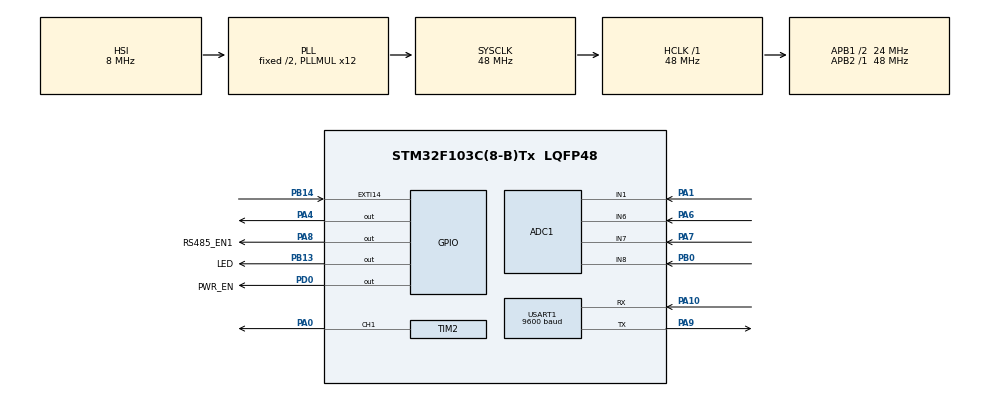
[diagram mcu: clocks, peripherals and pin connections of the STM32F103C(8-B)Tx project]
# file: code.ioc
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ADC1.Channel-0\#ChannelRegularConversion=ADC_CHANNEL_6
ADC1.Channel-1\#ChannelRegularConversion=ADC_CHANNEL_8
ADC1.Channel-2\#ChannelRegularConversion=ADC_CHANNEL_7
ADC1.Channel-3\#ChannelRegularConversion=ADC_CHANNEL_1
ADC1.DiscontinuousConvMode=ENABLE
ADC1.NbrOfConversion=4
ADC1.NbrOfConversionFlag=1
ADC1.Rank-0\#ChannelRegularConversion=1
ADC1.Rank-1\#ChannelRegularConversion=2
ADC1.Rank-2\#ChannelRegularConversion=3
ADC1.Rank-3\#ChannelRegularConversion=4
ADC1.SamplingTime-0\#ChannelRegularConversion=ADC_SAMPLETIME_71CYCLES_5
ADC1.SamplingTime-1\#ChannelRegularConversion=ADC_SAMPLETIME_71CYCLES_5
ADC1.SamplingTime-2\#ChannelRegularConversion=ADC_SAMPLETIME_71CYCLES_5
ADC1.SamplingTime-3\#ChannelRegularConversion=ADC_SAMPLETIME_71CYCLES_5
ADC1.master=1
Mcu.Family=STM32F1
Mcu.Name=STM32F103C(8-B)Tx
Mcu.Package=LQFP48
NVIC.EXTI15_10_IRQn=true\:0\:0\:false\:false\:true\:true\:true
NVIC.PriorityGroup=NVIC_PRIORITYGROUP_4
NVIC.TIM2_IRQn=true\:0\:0\:false\:false\:true\:true\:true
NVIC.USART1_IRQn=true\:0\:0\:false\:false\:true\:true\:true
PA0-WKUP.Signal=S_TIM2_CH1_ETR
PA1.Signal=ADCx_IN1
PA10.Mode=Asynchronous
PA10.Signal=USART1_RX
PA13.Mode=Serial_Wire
PA13.Signal=SYS_JTMS-SWDIO
PA14.Mode=Serial_Wire
PA14.Signal=SYS_JTCK-SWCLK
PA4.Signal=GPIO_Output
PA6.Signal=ADCx_IN6
PA7.Signal=ADCx_IN7
PA8.GPIO_Label=RS485_EN1
PA8.Signal=GPIO_Output
PA9.Mode=Asynchronous
PA9.Signal=USART1_TX
PB0.Signal=ADCx_IN8
PB13.GPIO_Label=LED
PB13.Signal=GPIO_Output
PB14.GPIO_ModeDefaultEXTI=GPIO_MODE_IT_FALLING
PB14.GPIO_PuPd=GPIO_PULLUP
PB14.Signal=GPXTI14
PD0-OSC_IN.GPIO_Label=PWR_EN
PD0-OSC_IN.Signal=GPIO_Output
ProjectManager.HeapSize=0x200
ProjectManager.StackSize=0x400
ProjectManager.TargetToolchain=MDK-ARM V5
RCC.ADCPresc=RCC_ADCPCLK2_DIV4
RCC.AHBFreq_Value=48000000
RCC.APB1CLKDivider=RCC_HCLK_DIV2
RCC.APB1Freq_Value=24000000
RCC.APB1TimFreq_Value=48000000
RCC.APB2Freq_Value=48000000
RCC.APB2TimFreq_Value=48000000
RCC.HCLKFreq_Value=48000000
RCC.PLLMUL=RCC_PLL_MUL12
RCC.SYSCLKFreq_VALUE=48000000
RCC.SYSCLKSource=RCC_SYSCLKSOURCE_PLLCLK
RCC.USBFreq_Value=48000000
SH.ADCx_IN1.0=ADC1_IN1,IN1
SH.ADCx_IN6.0=ADC1_IN6,IN6
SH.ADCx_IN7.0=ADC1_IN7,IN7
SH.ADCx_IN8.0=ADC1_IN8,IN8
SH.S_TIM2_CH1_ETR.0=TIM2_CH1,PWM Generation1 CH1
TIM2.AutoReloadPreload=TIM_AUTORELOAD_PRELOAD_DISABLE
TIM2.Channel-PWM\ Generation1\ CH1=TIM_CHANNEL_1
TIM2.CounterMode=TIM_COUNTERMODE_DOWN
TIM2.Period=39
TIM2.Prescaler=4799
USART1.BaudRate=9600
USART1.VirtualMode=VM_ASYNC
VP_TIM2_VS_ClockSourceINT.Mode=Internal
board=custom

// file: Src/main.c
/* USER CODE BEGIN Header */
/**
  ******************************************************************************
  * @file           : main.c
  * @brief          : Main program body
  ******************************************************************************
  * @attention
  *
  * <h2><center>&copy; Copyright (c) 2020 STMicroelectronics.
  * All rights reserved.</center></h2>
  *
  * This software component is licensed by ST under BSD 3-Clause license,
  * the "License"; You may not use this file except in compliance with the
  * License. You may obtain a copy of the License at:
  *                        opensource.org/licenses/BSD-3-Clause
  *
  ******************************************************************************
  */
/* USER CODE END Header */

#include "main.h"

/* USER CODE BEGIN Includes */
#include "modbus.h"
#include "app.h"
#include "adc.h"
#include "filter.h"
#include "FdrAlgorithm.h"
#include "calibration.h"
/* USER CODE END Includes */

/* USER CODE BEGIN PTD */
extern sensor_stru sensor_usr;
/* USER CODE END PTD */

ADC_HandleTypeDef hadc1;

TIM_HandleTypeDef htim2;

UART_HandleTypeDef huart1;

void SystemClock_Config(void);
static void MX_GPIO_Init(void);
static void MX_ADC1_Init(void);
 //void MX_USART1_UART_Init(void);
static void MX_TIM2_Init(void);

/* USER CODE BEGIN 0 */
uint32_t freq,tickTime,tickTimeLED,freq_count;
extern unsigned char stop_flag ;
uint32_t duticycle;
/* USER CODE END 0 */

int main(void)
{

  /* MCU Configuration--------------------------------------------------------*/

  /* Reset of all peripherals, Initializes the Flash interface and the Systick. */
  HAL_Init();

  /* Configure the system clock */
  SystemClock_Config();

  /* Initialize all configured peripherals */
  MX_GPIO_Init();
  MX_ADC1_Init();
  MX_USART1_UART_Init();
  MX_TIM2_Init();
  /* USER CODE BEGIN 2 */
    params_init();//~{Ih182NJ}3uJ<;/~}
    RS485_Init();//tur
    HAL_GPIO_WritePin(PWR_EN_GPIO_Port, PWR_EN_Pin, GPIO_PIN_RESET);
    HAL_TIM_Base_Start_IT(&htim2);
    HAL_TIM_PWM_Start(&htim2,TIM_CHANNEL_1);
    tickTime=HAL_GetTick();

    if(getFactor()->dutycycle == 0)//pwm~{?U2b5gQ9N4=xPPP#W<~}
    {
        while(1)//led~{V8J>5FIAK8~}
        {

            if((HAL_GetTick()-tickTimeLED)>=200)//led~{V8J>5FIAK8~}
            {
                tickTimeLED=HAL_GetTick();
                HAL_GPIO_TogglePin(LED_GPIO_Port, LED_Pin);
            }
            if((HAL_GetTick()-tickTime)>=1000)//led~{V8J>5FIAK8~}
            {

                app_loop();//~{Vw3LPr~}
                Get_Adc_Average(N);
                if(sensor_usr.sensor[0]/V_Nom>=1.01)
                {
                    // if(getFactor()->dutycycle>0)
                    getFactor()->dutycycle++;

                }
                else if((sensor_usr.sensor[0]/V_Nom)<0.99)
                {
                    if(getFactor()->dutycycle>0)
                        getFactor()->dutycycle--;
                }
                else
                {
                    params_save();
                    break;
                }
                __HAL_TIM_SET_COMPARE(&htim2, TIM_CHANNEL_1, getFactor()->dutycycle);
                tickTime=HAL_GetTick();
            }

        }

    }
    else
    {
        __HAL_TIM_SET_COMPARE(&htim2, TIM_CHANNEL_1,getFactor()->dutycycle);
    }

  /* USER CODE END 2 */

  /* Infinite loop */
    while (1)
    {

    /* USER CODE BEGIN 3 */
        //HAL_Delay(1000);

        if(getRatio()->calibrationFlag == 1)//~{P#W<9}3L~}
        {
            if((HAL_GetTick()-tickTime)>=200)//led~{V8J>5FIAK8~}
            {
                HAL_GPIO_TogglePin(LED_GPIO_Port, LED_Pin);
                tickTime=HAL_GetTick();
            }

        }
        else
        {
            if((HAL_GetTick()-tickTime)>=1000)//led~{V8J>5FIAK8~}
            {

                HAL_GPIO_TogglePin(LED_GPIO_Port, LED_Pin);
                tickTime=HAL_GetTick();
            }

        }

        app_loop();//~{Vw3LPr~}
    }
  /* USER CODE END 3 */
}

void SystemClock_Config(void)
{
  RCC_OscInitTypeDef RCC_OscInitStruct = {0};
  RCC_ClkInitTypeDef RCC_ClkInitStruct = {0};
  RCC_PeriphCLKInitTypeDef PeriphClkInit = {0};

  /** Initializes the CPU, AHB and APB busses clocks
  */
  RCC_OscInitStruct.OscillatorType = RCC_OSCILLATORTYPE_HSI;
  RCC_OscInitStruct.HSIState = RCC_HSI_ON;
  RCC_OscInitStruct.HSICalibrationValue = RCC_HSICALIBRATION_DEFAULT;
  RCC_OscInitStruct.PLL.PLLState = RCC_PLL_ON;
  RCC_OscInitStruct.PLL.PLLSource = RCC_PLLSOURCE_HSI_DIV2;
  RCC_OscInitStruct.PLL.PLLMUL = RCC_PLL_MUL12;
  if (HAL_RCC_OscConfig(&RCC_OscInitStruct) != HAL_OK)
  {
    Error_Handler();
  }
  /** Initializes the CPU, AHB and APB busses clocks
  */
  RCC_ClkInitStruct.ClockType = RCC_CLOCKTYPE_HCLK|RCC_CLOCKTYPE_SYSCLK
                              |RCC_CLOCKTYPE_PCLK1|RCC_CLOCKTYPE_PCLK2;
  RCC_ClkInitStruct.SYSCLKSource = RCC_SYSCLKSOURCE_PLLCLK;
  RCC_ClkInitStruct.AHBCLKDivider = RCC_SYSCLK_DIV1;
  RCC_ClkInitStruct.APB1CLKDivider = RCC_HCLK_DIV2;
  RCC_ClkInitStruct.APB2CLKDivider = RCC_HCLK_DIV1;

  if (HAL_RCC_ClockConfig(&RCC_ClkInitStruct, FLASH_LATENCY_1) != HAL_OK)
  {
    Error_Handler();
  }
  PeriphClkInit.PeriphClockSelection = RCC_PERIPHCLK_ADC;
  PeriphClkInit.AdcClockSelection = RCC_ADCPCLK2_DIV4;
  if (HAL_RCCEx_PeriphCLKConfig(&PeriphClkInit) != HAL_OK)
  {
    Error_Handler();
  }
}

static void MX_ADC1_Init(void)
{

  ADC_ChannelConfTypeDef sConfig = {0};

  /** Common config
  */
  hadc1.Instance = ADC1;
  hadc1.Init.ScanConvMode = ADC_SCAN_ENABLE;
  hadc1.Init.ContinuousConvMode = DISABLE;
  hadc1.Init.DiscontinuousConvMode = ENABLE;
  hadc1.Init.NbrOfDiscConversion = 1;
  hadc1.Init.ExternalTrigConv = ADC_SOFTWARE_START;
  hadc1.Init.DataAlign = ADC_DATAALIGN_RIGHT;
  hadc1.Init.NbrOfConversion = 4;
  if (HAL_ADC_Init(&hadc1) != HAL_OK)
  {
    Error_Handler();
  }
  /** Configure Regular Channel
  */
  sConfig.Channel = ADC_CHANNEL_6;
  sConfig.Rank = ADC_REGULAR_RANK_1;
  sConfig.SamplingTime = ADC_SAMPLETIME_71CYCLES_5;
  if (HAL_ADC_ConfigChannel(&hadc1, &sConfig) != HAL_OK)
  {
    Error_Handler();
  }
  /** Configure Regular Channel
  */
  sConfig.Channel = ADC_CHANNEL_8;
  sConfig.Rank = ADC_REGULAR_RANK_2;
  if (HAL_ADC_ConfigChannel(&hadc1, &sConfig) != HAL_OK)
  {
    Error_Handler();
  }
  /** Configure Regular Channel
  */
  sConfig.Channel = ADC_CHANNEL_7;
  sConfig.Rank = ADC_REGULAR_RANK_3;
  if (HAL_ADC_ConfigChannel(&hadc1, &sConfig) != HAL_OK)
  {
    Error_Handler();
  }
  /** Configure Regular Channel
  */
  sConfig.Channel = ADC_CHANNEL_1;
  sConfig.Rank = ADC_REGULAR_RANK_4;
  if (HAL_ADC_ConfigChannel(&hadc1, &sConfig) != HAL_OK)
  {
    Error_Handler();
  }

}

static void MX_TIM2_Init(void)
{

  TIM_ClockConfigTypeDef sClockSourceConfig = {0};
  TIM_MasterConfigTypeDef sMasterConfig = {0};
  TIM_OC_InitTypeDef sConfigOC = {0};

  htim2.Instance = TIM2;
  htim2.Init.Prescaler = 4799;
  htim2.Init.CounterMode = TIM_COUNTERMODE_DOWN;
  htim2.Init.Period = 39;
  htim2.Init.ClockDivision = TIM_CLOCKDIVISION_DIV1;
  htim2.Init.AutoReloadPreload = TIM_AUTORELOAD_PRELOAD_DISABLE;
  if (HAL_TIM_Base_Init(&htim2) != HAL_OK)
  {
    Error_Handler();
  }
  sClockSourceConfig.ClockSource = TIM_CLOCKSOURCE_INTERNAL;
  if (HAL_TIM_ConfigClockSource(&htim2, &sClockSourceConfig) != HAL_OK)
  {
    Error_Handler();
  }
  if (HAL_TIM_PWM_Init(&htim2) != HAL_OK)
  {
    Error_Handler();
  }
  sMasterConfig.MasterOutputTrigger = TIM_TRGO_RESET;
  sMasterConfig.MasterSlaveMode = TIM_MASTERSLAVEMODE_DISABLE;
  if (HAL_TIMEx_MasterConfigSynchronization(&htim2, &sMasterConfig) != HAL_OK)
  {
    Error_Handler();
  }
  sConfigOC.OCMode = TIM_OCMODE_PWM1;
  sConfigOC.Pulse = 0;
  sConfigOC.OCPolarity = TIM_OCPOLARITY_HIGH;
  sConfigOC.OCFastMode = TIM_OCFAST_DISABLE;
  if (HAL_TIM_PWM_ConfigChannel(&htim2, &sConfigOC, TIM_CHANNEL_1) != HAL_OK)
  {
    Error_Handler();
  }
  HAL_TIM_MspPostInit(&htim2);

}

void MX_USART1_UART_Init(void)
{

  huart1.Instance = USART1;
  huart1.Init.BaudRate = 9600;
  huart1.Init.WordLength = UART_WORDLENGTH_8B;
  huart1.Init.StopBits = UART_STOPBITS_1;
  huart1.Init.Parity = UART_PARITY_NONE;
  huart1.Init.Mode = UART_MODE_TX_RX;
  huart1.Init.HwFlowCtl = UART_HWCONTROL_NONE;
  huart1.Init.OverSampling = UART_OVERSAMPLING_16;
  if (HAL_UART_Init(&huart1) != HAL_OK)
  {
    Error_Handler();
  }

}

static void MX_GPIO_Init(void)
{
  GPIO_InitTypeDef GPIO_InitStruct = {0};

  /* GPIO Ports Clock Enable */
  __HAL_RCC_GPIOD_CLK_ENABLE();
  __HAL_RCC_GPIOA_CLK_ENABLE();
  __HAL_RCC_GPIOB_CLK_ENABLE();

  /*Configure GPIO pin Output Level */
  HAL_GPIO_WritePin(PWR_EN_GPIO_Port, PWR_EN_Pin, GPIO_PIN_RESET);

  /*Configure GPIO pin Output Level */
  HAL_GPIO_WritePin(GPIOA, GPIO_PIN_4|RS485_EN1_Pin, GPIO_PIN_RESET);

  /*Configure GPIO pin Output Level */
  HAL_GPIO_WritePin(LED_GPIO_Port, LED_Pin, GPIO_PIN_RESET);

  /*Configure GPIO pin : PWR_EN_Pin */
  GPIO_InitStruct.Pin = PWR_EN_Pin;
  GPIO_InitStruct.Mode = GPIO_MODE_OUTPUT_PP;
  GPIO_InitStruct.Pull = GPIO_NOPULL;
  GPIO_InitStruct.Speed = GPIO_SPEED_FREQ_LOW;
  HAL_GPIO_Init(PWR_EN_GPIO_Port, &GPIO_InitStruct);

  /*Configure GPIO pins : PA4 RS485_EN1_Pin */
  GPIO_InitStruct.Pin = GPIO_PIN_4|RS485_EN1_Pin;
  GPIO_InitStruct.Mode = GPIO_MODE_OUTPUT_PP;
  GPIO_InitStruct.Pull = GPIO_NOPULL;
  GPIO_InitStruct.Speed = GPIO_SPEED_FREQ_LOW;
  HAL_GPIO_Init(GPIOA, &GPIO_InitStruct);

  /*Configure GPIO pin : LED_Pin */
  GPIO_InitStruct.Pin = LED_Pin;
  GPIO_InitStruct.Mode = GPIO_MODE_OUTPUT_PP;
  GPIO_InitStruct.Pull = GPIO_NOPULL;
  GPIO_InitStruct.Speed = GPIO_SPEED_FREQ_LOW;
  HAL_GPIO_Init(LED_GPIO_Port, &GPIO_InitStruct);

  /*Configure GPIO pin : PB14 */
  GPIO_InitStruct.Pin = GPIO_PIN_14;
  GPIO_InitStruct.Mode = GPIO_MODE_IT_FALLING;
  GPIO_InitStruct.Pull = GPIO_PULLUP;
  HAL_GPIO_Init(GPIOB, &GPIO_InitStruct);

  /*Configure peripheral I/O remapping */
  __HAL_AFIO_REMAP_PD01_ENABLE();

  /* EXTI interrupt init*/
  HAL_NVIC_SetPriority(EXTI15_10_IRQn, 0, 0);
  HAL_NVIC_EnableIRQ(EXTI15_10_IRQn);

}

void Error_Handler(void)
{
}

/************************ (C) COPYRIGHT STMicroelectronics *****END OF FILE****/
